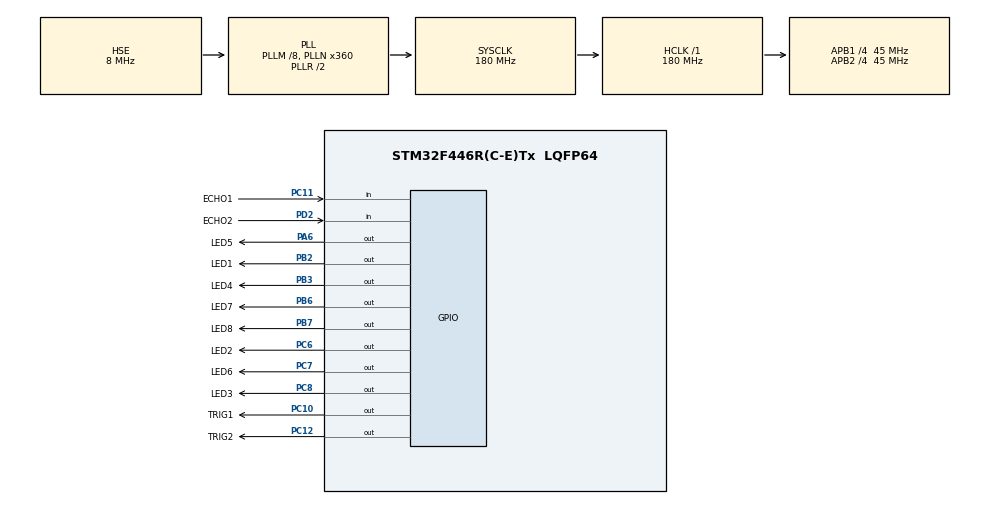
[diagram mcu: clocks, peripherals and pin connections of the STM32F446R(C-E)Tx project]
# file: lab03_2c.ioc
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FREERTOS.Tasks01=ledBar,24,128,ledBarThread,Default,NULL,Dynamic,NULL,NULL;ultrasonic,8,128,ultrasonicThread,Default,NULL,Dynamic,NULL,NULL
FREERTOS.configUSE_NEWLIB_REENTRANT=1
Mcu.Family=STM32F4
Mcu.Name=STM32F446R(C-E)Tx
Mcu.Package=LQFP64
NVIC.PriorityGroup=NVIC_PRIORITYGROUP_4
NVIC.TIM7_IRQn=true\:15\:0\:false\:false\:true\:false\:false\:true\:true
NVIC.TimeBase=TIM7_IRQn
NVIC.TimeBaseIP=TIM7
PA13.Mode=Serial_Wire
PA13.Signal=SYS_JTMS-SWDIO
PA14.Mode=Serial_Wire
PA14.Signal=SYS_JTCK-SWCLK
PA6.GPIO_Label=LED5
PA6.Signal=GPIO_Output
PB2.GPIO_Label=LED1
PB2.Signal=GPIO_Output
PB3.GPIO_Label=LED4
PB3.Signal=GPIO_Output
PB6.GPIO_Label=LED7
PB6.Signal=GPIO_Output
PB7.GPIO_Label=LED8
PB7.Signal=GPIO_Output
PC10.GPIO_Label=TRIG1
PC10.Signal=GPIO_Output
PC11.GPIO_Label=ECHO1
PC11.Signal=GPIO_Input
PC12.GPIO_Label=TRIG2
PC12.Signal=GPIO_Output
PC6.GPIO_Label=LED2
PC6.Signal=GPIO_Output
PC7.GPIO_Label=LED6
PC7.Signal=GPIO_Output
PC8.GPIO_Label=LED3
PC8.Signal=GPIO_Output
PD2.GPIO_Label=ECHO2
PD2.Signal=GPIO_Input
PH0-OSC_IN.Mode=HSE-External-Oscillator
PH0-OSC_IN.Signal=RCC_OSC_IN
PH1-OSC_OUT.Mode=HSE-External-Oscillator
PH1-OSC_OUT.Signal=RCC_OSC_OUT
ProjectManager.HeapSize=0x200
ProjectManager.StackSize=0x400
ProjectManager.TargetToolchain=STM32CubeIDE
RCC.AHBFreq_Value=180000000
RCC.APB1CLKDivider=RCC_HCLK_DIV4
RCC.APB1Freq_Value=45000000
RCC.APB1TimFreq_Value=90000000
RCC.APB2CLKDivider=RCC_HCLK_DIV4
RCC.APB2Freq_Value=45000000
RCC.APB2TimFreq_Value=90000000
RCC.CortexFreq_Value=180000000
RCC.HCLKFreq_Value=180000000
RCC.HSE_VALUE=8000000
RCC.PLLM=8
RCC.PLLN=360
RCC.PLLSourceVirtual=RCC_PLLSOURCE_HSE
RCC.SYSCLKFreq_VALUE=180000000
RCC.SYSCLKSource=RCC_SYSCLKSOURCE_PLLRCLK
RCC.USBFreq_Value=180000000
RCC.VCOOutputFreq_Value=360000000
TIM2.AutoReloadPreload=TIM_AUTORELOAD_PRELOAD_ENABLE
TIM2.Prescaler=90-1
VP_FREERTOS_VS_CMSIS_V2.Mode=CMSIS_V2
VP_SYS_VS_tim7.Mode=TIM7
VP_TIM2_VS_ClockSourceINT.Mode=Internal
board=custom

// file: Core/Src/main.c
/* USER CODE BEGIN Header */
/**
  ******************************************************************************
  * @file           : main.c
  * @brief          : Main program body
  ******************************************************************************
  * @attention
  *
  * Copyright (c) 2026 STMicroelectronics.
  * All rights reserved.
  *
  * This software is licensed under terms that can be found in the LICENSE file
  * in the root directory of this software component.
  * If no LICENSE file comes with this software, it is provided AS-IS.
  *
  ******************************************************************************
  */
/* USER CODE END Header */
#include "main.h"
#include "cmsis_os.h"

TIM_HandleTypeDef htim2;

/* Definitions for ledBar */
osThreadId_t ledBarHandle;
const osThreadAttr_t ledBar_attributes = {
  .name = "ledBar",
  .stack_size = 128 * 4,
  .priority = (osPriority_t) osPriorityNormal,
};
/* Definitions for ultrasonic */
osThreadId_t ultrasonicHandle;
const osThreadAttr_t ultrasonic_attributes = {
  .name = "ultrasonic",
  .stack_size = 128 * 4,
  .priority = (osPriority_t) osPriorityLow,
};
/* USER CODE BEGIN PV */
GPIO_TypeDef *ledPort[2][4] = {{GPIOB,GPIOC,GPIOC,GPIOB},
							   {GPIOA,GPIOC,GPIOB,GPIOB}};
int ledGPIO[2][4] = {{GPIO_PIN_2,GPIO_PIN_6,GPIO_PIN_8,GPIO_PIN_3},
			 	 	 {GPIO_PIN_6,GPIO_PIN_7,GPIO_PIN_6,GPIO_PIN_7}};

GPIO_TypeDef *UP_trig[2] = {GPIOC,GPIOC};
GPIO_TypeDef *UP_echo[2] = {GPIOD,GPIOC};
uint16_t trig[2] = {GPIO_PIN_12,GPIO_PIN_10};
uint16_t echo[2] = {GPIO_PIN_2,GPIO_PIN_11};

int distance[2]={5000,5000};
/* USER CODE END PV */

void SystemClock_Config(void);
static void MX_GPIO_Init(void);
static void MX_TIM2_Init(void);
void ledBarThread(void *argument);
void ultrasonicThread(void *argument);

/* USER CODE BEGIN PFP */
void clearTimer();
uint32_t getTimer();
void uDelay(uint32_t us);
int ultraSonic(int no);
void ledBar(int no, int value);
/* USER CODE END PFP */

int main(void)
{

  /* MCU Configuration--------------------------------------------------------*/

  /* Reset of all peripherals, Initializes the Flash interface and the Systick. */
  HAL_Init();

  /* Configure the system clock */
  SystemClock_Config();

  /* Initialize all configured peripherals */
  MX_GPIO_Init();
  MX_TIM2_Init();
  /* USER CODE BEGIN 2 */
  HAL_TIM_Base_Start(&htim2);
  //Set Trigger port to 0
  HAL_GPIO_WritePin(UP_trig[0],trig[0],0);
  HAL_GPIO_WritePin(UP_trig[1],trig[1],0);
  /* USER CODE END 2 */

  /* Init scheduler */
  osKernelInitialize();

  /* Create the thread(s) */
  /* creation of ledBar */
  ledBarHandle = osThreadNew(ledBarThread, NULL, &ledBar_attributes);

  /* creation of ultrasonic */
  ultrasonicHandle = osThreadNew(ultrasonicThread, NULL, &ultrasonic_attributes);

  /* Start scheduler */
  osKernelStart();

  /* We should never get here as control is now taken by the scheduler */

  /* Infinite loop */
  while (1)
  {

  }
}

void SystemClock_Config(void)
{
  RCC_OscInitTypeDef RCC_OscInitStruct = {0};
  RCC_ClkInitTypeDef RCC_ClkInitStruct = {0};

  /** Configure the main internal regulator output voltage
  */
  __HAL_RCC_PWR_CLK_ENABLE();
  __HAL_PWR_VOLTAGESCALING_CONFIG(PWR_REGULATOR_VOLTAGE_SCALE1);

  /** Initializes the RCC Oscillators according to the specified parameters
  * in the RCC_OscInitTypeDef structure.
  */
  RCC_OscInitStruct.OscillatorType = RCC_OSCILLATORTYPE_HSE;
  RCC_OscInitStruct.HSEState = RCC_HSE_ON;
  RCC_OscInitStruct.PLL.PLLState = RCC_PLL_ON;
  RCC_OscInitStruct.PLL.PLLSource = RCC_PLLSOURCE_HSE;
  RCC_OscInitStruct.PLL.PLLM = 8;
  RCC_OscInitStruct.PLL.PLLN = 360;
  RCC_OscInitStruct.PLL.PLLP = RCC_PLLP_DIV2;
  RCC_OscInitStruct.PLL.PLLQ = 2;
  RCC_OscInitStruct.PLL.PLLR = 2;
  if (HAL_RCC_OscConfig(&RCC_OscInitStruct) != HAL_OK)
  {
    Error_Handler();
  }

  /** Activate the Over-Drive mode
  */
  if (HAL_PWREx_EnableOverDrive() != HAL_OK)
  {
    Error_Handler();
  }

  /** Initializes the CPU, AHB and APB buses clocks
  */
  RCC_ClkInitStruct.ClockType = RCC_CLOCKTYPE_HCLK|RCC_CLOCKTYPE_SYSCLK
                              |RCC_CLOCKTYPE_PCLK1|RCC_CLOCKTYPE_PCLK2;
  RCC_ClkInitStruct.SYSCLKSource = RCC_SYSCLKSOURCE_PLLRCLK;
  RCC_ClkInitStruct.AHBCLKDivider = RCC_SYSCLK_DIV1;
  RCC_ClkInitStruct.APB1CLKDivider = RCC_HCLK_DIV4;
  RCC_ClkInitStruct.APB2CLKDivider = RCC_HCLK_DIV4;

  if (HAL_RCC_ClockConfig(&RCC_ClkInitStruct, FLASH_LATENCY_5) != HAL_OK)
  {
    Error_Handler();
  }
}

static void MX_TIM2_Init(void)
{

  TIM_ClockConfigTypeDef sClockSourceConfig = {0};
  TIM_MasterConfigTypeDef sMasterConfig = {0};

  htim2.Instance = TIM2;
  htim2.Init.Prescaler = 90-1;
  htim2.Init.CounterMode = TIM_COUNTERMODE_UP;
  htim2.Init.Period = 4294967295;
  htim2.Init.ClockDivision = TIM_CLOCKDIVISION_DIV1;
  htim2.Init.AutoReloadPreload = TIM_AUTORELOAD_PRELOAD_ENABLE;
  if (HAL_TIM_Base_Init(&htim2) != HAL_OK)
  {
    Error_Handler();
  }
  sClockSourceConfig.ClockSource = TIM_CLOCKSOURCE_INTERNAL;
  if (HAL_TIM_ConfigClockSource(&htim2, &sClockSourceConfig) != HAL_OK)
  {
    Error_Handler();
  }
  sMasterConfig.MasterOutputTrigger = TIM_TRGO_RESET;
  sMasterConfig.MasterSlaveMode = TIM_MASTERSLAVEMODE_DISABLE;
  if (HAL_TIMEx_MasterConfigSynchronization(&htim2, &sMasterConfig) != HAL_OK)
  {
    Error_Handler();
  }

}

static void MX_GPIO_Init(void)
{
  GPIO_InitTypeDef GPIO_InitStruct = {0};

  /* GPIO Ports Clock Enable */
  __HAL_RCC_GPIOH_CLK_ENABLE();
  __HAL_RCC_GPIOA_CLK_ENABLE();
  __HAL_RCC_GPIOB_CLK_ENABLE();
  __HAL_RCC_GPIOC_CLK_ENABLE();
  __HAL_RCC_GPIOD_CLK_ENABLE();

  /*Configure GPIO pin Output Level */
  HAL_GPIO_WritePin(LED5_GPIO_Port, LED5_Pin, GPIO_PIN_RESET);

  /*Configure GPIO pin Output Level */
  HAL_GPIO_WritePin(GPIOB, LED1_Pin|LED4_Pin|LED7_Pin|LED8_Pin, GPIO_PIN_RESET);

  /*Configure GPIO pin Output Level */
  HAL_GPIO_WritePin(GPIOC, LED2_Pin|LED6_Pin|LED3_Pin|TRIG1_Pin
                          |TRIG2_Pin, GPIO_PIN_RESET);

  /*Configure GPIO pin : LED5_Pin */
  GPIO_InitStruct.Pin = LED5_Pin;
  GPIO_InitStruct.Mode = GPIO_MODE_OUTPUT_PP;
  GPIO_InitStruct.Pull = GPIO_NOPULL;
  GPIO_InitStruct.Speed = GPIO_SPEED_FREQ_LOW;
  HAL_GPIO_Init(LED5_GPIO_Port, &GPIO_InitStruct);

  /*Configure GPIO pins : LED1_Pin LED4_Pin LED7_Pin LED8_Pin */
  GPIO_InitStruct.Pin = LED1_Pin|LED4_Pin|LED7_Pin|LED8_Pin;
  GPIO_InitStruct.Mode = GPIO_MODE_OUTPUT_PP;
  GPIO_InitStruct.Pull = GPIO_NOPULL;
  GPIO_InitStruct.Speed = GPIO_SPEED_FREQ_LOW;
  HAL_GPIO_Init(GPIOB, &GPIO_InitStruct);

  /*Configure GPIO pins : LED2_Pin LED6_Pin LED3_Pin TRIG1_Pin
                           TRIG2_Pin */
  GPIO_InitStruct.Pin = LED2_Pin|LED6_Pin|LED3_Pin|TRIG1_Pin
                          |TRIG2_Pin;
  GPIO_InitStruct.Mode = GPIO_MODE_OUTPUT_PP;
  GPIO_InitStruct.Pull = GPIO_NOPULL;
  GPIO_InitStruct.Speed = GPIO_SPEED_FREQ_LOW;
  HAL_GPIO_Init(GPIOC, &GPIO_InitStruct);

  /*Configure GPIO pin : ECHO1_Pin */
  GPIO_InitStruct.Pin = ECHO1_Pin;
  GPIO_InitStruct.Mode = GPIO_MODE_INPUT;
  GPIO_InitStruct.Pull = GPIO_NOPULL;
  HAL_GPIO_Init(ECHO1_GPIO_Port, &GPIO_InitStruct);

  /*Configure GPIO pin : ECHO2_Pin */
  GPIO_InitStruct.Pin = ECHO2_Pin;
  GPIO_InitStruct.Mode = GPIO_MODE_INPUT;
  GPIO_InitStruct.Pull = GPIO_NOPULL;
  HAL_GPIO_Init(ECHO2_GPIO_Port, &GPIO_InitStruct);

}

/* USER CODE BEGIN 4 */
void clearTimer(){
	__HAL_TIM_SetCounter(&htim2,0);
}

uint32_t getTimer(){
	return __HAL_TIM_GetCounter(&htim2);
}

void uDelay(uint32_t us){
	uint32_t start;
	uint32_t finish = (start =__HAL_TIM_GetCounter(&htim2)) + us;
	if(start > finish){
		while(__HAL_TIM_GetCounter(&htim2)>start); // wait until it overruns
	}
	while(__HAL_TIM_GetCounter(&htim2)<finish);
}

int ultraSonic(int no){
	int timeout;
	uint32_t clock1,clock2;
	clearTimer();
	HAL_GPIO_WritePin(UP_trig[no],trig[no],1);
	uDelay(10);
	HAL_GPIO_WritePin(UP_trig[no],trig[no],0);

	for(timeout=0;(timeout<1000)&&(!HAL_GPIO_ReadPin(UP_echo[no],echo[no]));timeout++) uDelay(10);
	clock1 = getTimer();
	if(timeout>=1000)return -1;

	for(timeout=0;(timeout<1000)&&(HAL_GPIO_ReadPin(UP_echo[no],echo[no]));timeout++) uDelay(10);
	clock2 = getTimer();
	if(timeout>=1000)return -1;

	return clock2-clock1;
}

void ledBar(int no,int value){
	int i;

	if(value>4) value = 4;

	for(i=0;i<value;i++){
		HAL_GPIO_WritePin(ledPort[no][i],ledGPIO[no][i],1);
	}
	for(;i<4;i++){
		HAL_GPIO_WritePin(ledPort[no][i],ledGPIO[no][i],0);
	}
}
/* USER CODE END 4 */

void ledBarThread(void *argument)
{
  /* USER CODE BEGIN 5 */
	int value[2];
	int i;
  /* Infinite loop */
  for(;;)
  {
	  for(i=0;i<2;i++){
		value[i] = distance[i];
		value[i] = 1200-value[i]; //reverse value
		if(value[i]<0) value[i] = 0;
		value[i]/=200; //convert into 0 to 4
		if(value[i]>4) value[i]=4; //prevent value overflow

		ledBar(i,value[i]);
	  }
	  osDelay(20);
  }
  /* USER CODE END 5 */
}

void ultrasonicThread(void *argument)
{
  /* USER CODE BEGIN ultrasonicThread */
	int i,tmp;
  /* Infinite loop */
  for(;;)
  {
	  for(i=0;i<2;i++){
		  tmp = ultraSonic(i);
		  if(tmp>0)
			  distance[i] = tmp;
	  }
      osDelay(20);
  }
  /* USER CODE END ultrasonicThread */
}

void HAL_TIM_PeriodElapsedCallback(TIM_HandleTypeDef *htim)
{
  if (htim->Instance == TIM7)
  {
    HAL_IncTick();
  }
}

void Error_Handler(void)
{
  __disable_irq();
  while (1)
  {
  }
}
